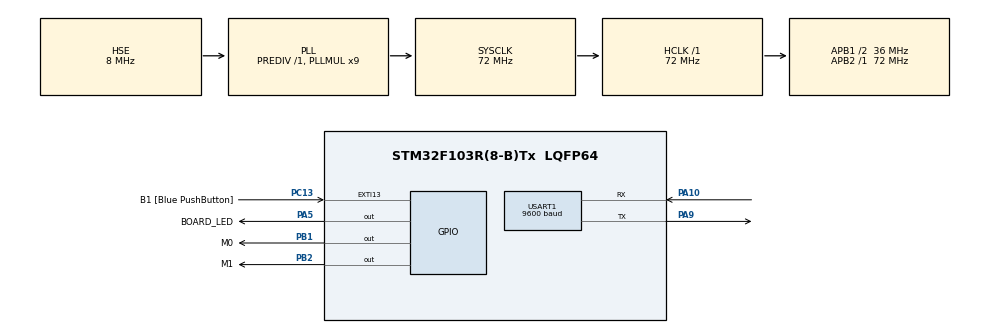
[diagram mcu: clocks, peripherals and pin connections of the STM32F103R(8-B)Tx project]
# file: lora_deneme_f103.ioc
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Dma.Request0=USART1_RX
Dma.Request1=USART1_TX
Dma.USART1_RX.0.Direction=DMA_PERIPH_TO_MEMORY
Dma.USART1_RX.0.Instance=DMA1_Channel5
Dma.USART1_RX.0.MemDataAlignment=DMA_MDATAALIGN_BYTE
Dma.USART1_RX.0.MemInc=DMA_MINC_ENABLE
Dma.USART1_RX.0.Mode=DMA_NORMAL
Dma.USART1_RX.0.PeriphDataAlignment=DMA_PDATAALIGN_BYTE
Dma.USART1_RX.0.PeriphInc=DMA_PINC_DISABLE
Dma.USART1_RX.0.Priority=DMA_PRIORITY_LOW
Dma.USART1_TX.1.Direction=DMA_MEMORY_TO_PERIPH
Dma.USART1_TX.1.Instance=DMA1_Channel4
Dma.USART1_TX.1.MemDataAlignment=DMA_MDATAALIGN_BYTE
Dma.USART1_TX.1.MemInc=DMA_MINC_ENABLE
Dma.USART1_TX.1.Mode=DMA_NORMAL
Dma.USART1_TX.1.PeriphDataAlignment=DMA_PDATAALIGN_BYTE
Dma.USART1_TX.1.PeriphInc=DMA_PINC_DISABLE
Dma.USART1_TX.1.Priority=DMA_PRIORITY_LOW
FREERTOS.Tasks01=defaultTask,0,128,StartDefaultTask,Default,NULL,Dynamic,NULL,NULL
Mcu.Family=STM32F1
Mcu.Name=STM32F103R(8-B)Tx
Mcu.Package=LQFP64
NVIC.DMA1_Channel4_IRQn=true\:5\:0\:false\:false\:true\:true\:false\:true\:true
NVIC.DMA1_Channel5_IRQn=true\:5\:0\:false\:false\:true\:true\:false\:true\:true
NVIC.EXTI15_10_IRQn=true\:5\:0\:false\:false\:true\:true\:true\:true\:true
NVIC.PriorityGroup=NVIC_PRIORITYGROUP_4
NVIC.USART1_IRQn=true\:5\:0\:false\:false\:true\:true\:true\:true\:true
PA10.Mode=Asynchronous
PA10.Signal=USART1_RX
PA13.GPIO_Label=TMS
PA13.Mode=Serial_Wire
PA13.Signal=SYS_JTMS-SWDIO
PA14.GPIO_Label=TCK
PA14.Mode=Serial_Wire
PA14.Signal=SYS_JTCK-SWCLK
PA2.GPIO_Label=USART_TX
PA2.GPIO_Mode=GPIO_MODE_AF_PP
PA2.GPIO_PuPd=GPIO_NOPULL
PA2.GPIO_Speed=GPIO_SPEED_FREQ_LOW
PA2.Signal=USART2_TX
PA3.GPIO_Label=USART_RX
PA3.GPIO_Mode=GPIO_MODE_AF_PP
PA3.GPIO_PuPd=GPIO_NOPULL
PA3.GPIO_Speed=GPIO_SPEED_FREQ_LOW
PA3.Signal=USART2_RX
PA5.GPIO_Label=BOARD_LED
PA5.GPIO_ModeDefaultOutputPP=GPIO_MODE_OUTPUT_PP
PA5.GPIO_PuPd=GPIO_NOPULL
PA5.GPIO_Speed=GPIO_SPEED_FREQ_LOW
PA5.Signal=GPIO_Output
PA9.Mode=Asynchronous
PA9.Signal=USART1_TX
PB1.GPIO_Label=M0
PB1.Signal=GPIO_Output
PB2.GPIO_Label=M1
PB2.Signal=GPIO_Output
PB3.GPIO_Label=SWO
PB3.Signal=SYS_JTDO-TRACESWO
PC13-TAMPER-RTC.GPIO_Label=B1 [Blue PushButton]
PC13-TAMPER-RTC.GPIO_PuPd=GPIO_NOPULL
PC13-TAMPER-RTC.Signal=GPXTI13
PC14-OSC32_IN.Mode=LSE-External-Oscillator
PC14-OSC32_IN.Signal=RCC_OSC32_IN
PC15-OSC32_OUT.Mode=LSE-External-Oscillator
PC15-OSC32_OUT.Signal=RCC_OSC32_OUT
PD0-OSC_IN.Mode=HSE-External-Clock-Source
PD0-OSC_IN.Signal=RCC_OSC_IN
PD1-OSC_OUT.Mode=HSE-External-Clock-Source
PD1-OSC_OUT.Signal=RCC_OSC_OUT
ProjectManager.HeapSize=0x200
ProjectManager.StackSize=0x400
ProjectManager.TargetToolchain=STM32CubeIDE
RCC.AHBFreq_Value=72000000
RCC.APB1CLKDivider=RCC_HCLK_DIV2
RCC.APB1Freq_Value=36000000
RCC.APB1TimFreq_Value=72000000
RCC.APB2Freq_Value=72000000
RCC.APB2TimFreq_Value=72000000
RCC.HCLKFreq_Value=72000000
RCC.PLLMUL=RCC_PLL_MUL9
RCC.PLLSourceVirtual=RCC_PLLSOURCE_HSE
RCC.RTCClockSelection=RCC_RTCCLKSOURCE_LSE
RCC.SYSCLKFreq_VALUE=72000000
RCC.SYSCLKSource=RCC_SYSCLKSOURCE_PLLCLK
RCC.USBFreq_Value=72000000
USART1.BaudRate=9600
USART1.VirtualMode=VM_ASYNC
VP_FREERTOS_VS_CMSIS_V1.Mode=CMSIS_V1
VP_TIM2_VS_ClockSourceINT.Mode=Internal
board=NUCLEO-F103RB

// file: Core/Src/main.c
/* **************************ENDUSTRIYEL ELEKTRIK***************************** */
/* *************************ENGINEER:IBRAHIM GURAN**************************** */
/* Not: Bu kod NUCLEO F103 kartı üzerinde alıcı pozisyondayken denenmiş ve
 * çalışmıştır. Alıcı bir kart olarak yalnızca "ping" verisinin vericiden gelmesini bekler.
 * Veri aldığı esnada da led yakar. Bu işlemi değiştirebilir veya alınca vereceği cevabı
 * değiştirerek farklı uygulamalar yapabilirsiniz. Kod üzerinde anlaşılması güç
 * noktaları da yorum satırlarıyla anlatacağım. Bu projede bana destek olan ve
 * bana bu proje üzerinde çalışmama izin veren başta HIKMET ALKILINÇ ve YUSUF OZYER
 * olmak üzere ENDUSTRIYEL ELEKTRIK ARGE MERKEZİ mühendislerine ve doğrudan bağlantı
 * kuramasam da kütüphane oluşturmama yardım eden WARD ALMASARANI'ye teşekkür ederim.
 */
/* USER CODE BEGIN Header */
/**
  ******************************************************************************
  * @file           : main.c
  * @brief          : Main program body
  ******************************************************************************
  * @attention
  *
  * Copyright (c) 2025 STMicroelectronics.
  * All rights reserved.
  *
  * This software is licensed under terms that can be found in the LICENSE file
  * in the root directory of this software component.
  * If no LICENSE file comes with this software, it is provided AS-IS.
  *
  ******************************************************************************
  */
/* USER CODE END Header */
#include "main.h"
#include "cmsis_os.h"

/* USER CODE BEGIN Includes */
#include "FreeRTOS.h"
#include "task.h"
#include "e22900t22d.h"
/* USER CODE END Includes */

TIM_HandleTypeDef htim2;

UART_HandleTypeDef huart1; // //modüle uart üzerinden veri gönderiyoruz.
DMA_HandleTypeDef hdma_usart1_rx; // USART1 kullanmamın sebebi USART2'de STLINK'in olması.
DMA_HandleTypeDef hdma_usart1_tx; // USART2'yi açsam bile TX pinlere gitmediği için kullanamıyorum.

osThreadId defaultTaskHandle;

void SystemClock_Config(void);
static void MX_GPIO_Init(void);
static void MX_DMA_Init(void);
static void MX_USART1_UART_Init(void);
static void MX_TIM2_Init(void);
void StartDefaultTask(void const * argument);

/* USER CODE BEGIN PFP */
// Burada lora modülünün çalışması için önemli olan fonksiyonlar bulunmakta.
// Hepsini fonksiyon içerisinde açıklayacağım. Burada sadece gerekli olan tanımlama işlemi var.
static void led_toggle_task(void *parameter);
static void e22_handle_task(void *parameter);
static void e22_transmission_task(void *parameter);
static void main_e22_transceiverMode(void);
static void main_e22_configurationMode(void);
static void main_lora_packet_receive(uint8_t* dataPacket, uint8_t size);
/* USER CODE END PFP */

int main(void)
{

  /* MCU Configuration--------------------------------------------------------*/

  /* Reset of all peripherals, Initializes the Flash interface and the Systick. */
  HAL_Init();

  /* Configure the system clock */
  SystemClock_Config();

  /* Initialize all configured peripherals */
  MX_GPIO_Init();
  MX_DMA_Init();
  MX_USART1_UART_Init();
  MX_TIM2_Init();
  /* USER CODE BEGIN 2 */
  // E22 LoRa modülünü yapılandırıyoruz.
    e22_lora_init(&huart1,
  		  	  	HAL_UART_Transmit_DMA,
  				HAL_UARTEx_ReceiveToIdle_DMA,
  				main_lora_packet_receive,
  				main_e22_configurationMode,
  				main_e22_transceiverMode);

    // FREERTOS Task oluşturmayı başlatıyoruz.
    xTaskCreate(led_toggle_task, "Toggle LED", 128, NULL, 1, NULL);

    xTaskCreate(e22_handle_task, "E22 LoRa Handler", 128 * 4, NULL, 1, NULL);

    xTaskCreate(e22_transmission_task, "E22 LoRa Tx Task", 128 * 4, NULL, 1, NULL);

    vTaskStartScheduler();

    //The rest is not executed.
  /* USER CODE END 2 */

  /* Create the thread(s) */
  /* definition and creation of defaultTask */
  osThreadDef(defaultTask, StartDefaultTask, osPriorityNormal, 0, 128);
  defaultTaskHandle = osThreadCreate(osThread(defaultTask), NULL);

  /* Start scheduler */
  osKernelStart();

  /* We should never get here as control is now taken by the scheduler */
  /* Infinite loop */
  while (1)
  {

  }
}

void SystemClock_Config(void)
{
  RCC_OscInitTypeDef RCC_OscInitStruct = {0};
  RCC_ClkInitTypeDef RCC_ClkInitStruct = {0};

  /** Initializes the RCC Oscillators according to the specified parameters
  * in the RCC_OscInitTypeDef structure.
  */
  RCC_OscInitStruct.OscillatorType = RCC_OSCILLATORTYPE_HSE;
  RCC_OscInitStruct.HSEState = RCC_HSE_BYPASS;
  RCC_OscInitStruct.HSEPredivValue = RCC_HSE_PREDIV_DIV1;
  RCC_OscInitStruct.HSIState = RCC_HSI_ON;
  RCC_OscInitStruct.PLL.PLLState = RCC_PLL_ON;
  RCC_OscInitStruct.PLL.PLLSource = RCC_PLLSOURCE_HSE;
  RCC_OscInitStruct.PLL.PLLMUL = RCC_PLL_MUL9;
  if (HAL_RCC_OscConfig(&RCC_OscInitStruct) != HAL_OK)
  {
    Error_Handler();
  }

  /** Initializes the CPU, AHB and APB buses clocks
  */
  RCC_ClkInitStruct.ClockType = RCC_CLOCKTYPE_HCLK|RCC_CLOCKTYPE_SYSCLK
                              |RCC_CLOCKTYPE_PCLK1|RCC_CLOCKTYPE_PCLK2;
  RCC_ClkInitStruct.SYSCLKSource = RCC_SYSCLKSOURCE_PLLCLK;
  RCC_ClkInitStruct.AHBCLKDivider = RCC_SYSCLK_DIV1;
  RCC_ClkInitStruct.APB1CLKDivider = RCC_HCLK_DIV2;
  RCC_ClkInitStruct.APB2CLKDivider = RCC_HCLK_DIV1;

  if (HAL_RCC_ClockConfig(&RCC_ClkInitStruct, FLASH_LATENCY_2) != HAL_OK)
  {
    Error_Handler();
  }
}

static void MX_TIM2_Init(void)
{

  TIM_ClockConfigTypeDef sClockSourceConfig = {0};
  TIM_MasterConfigTypeDef sMasterConfig = {0};

  htim2.Instance = TIM2;
  htim2.Init.Prescaler = 0;
  htim2.Init.CounterMode = TIM_COUNTERMODE_UP;
  htim2.Init.Period = 65535;
  htim2.Init.ClockDivision = TIM_CLOCKDIVISION_DIV1;
  htim2.Init.AutoReloadPreload = TIM_AUTORELOAD_PRELOAD_DISABLE;
  if (HAL_TIM_Base_Init(&htim2) != HAL_OK)
  {
    Error_Handler();
  }
  sClockSourceConfig.ClockSource = TIM_CLOCKSOURCE_INTERNAL;
  if (HAL_TIM_ConfigClockSource(&htim2, &sClockSourceConfig) != HAL_OK)
  {
    Error_Handler();
  }
  sMasterConfig.MasterOutputTrigger = TIM_TRGO_RESET;
  sMasterConfig.MasterSlaveMode = TIM_MASTERSLAVEMODE_DISABLE;
  if (HAL_TIMEx_MasterConfigSynchronization(&htim2, &sMasterConfig) != HAL_OK)
  {
    Error_Handler();
  }

}

static void MX_USART1_UART_Init(void)
{

  huart1.Instance = USART1;
  huart1.Init.BaudRate = 9600;
  huart1.Init.WordLength = UART_WORDLENGTH_8B;
  huart1.Init.StopBits = UART_STOPBITS_1;
  huart1.Init.Parity = UART_PARITY_NONE;
  huart1.Init.Mode = UART_MODE_TX_RX;
  huart1.Init.HwFlowCtl = UART_HWCONTROL_NONE;
  huart1.Init.OverSampling = UART_OVERSAMPLING_16;
  if (HAL_UART_Init(&huart1) != HAL_OK)
  {
    Error_Handler();
  }

}

static void MX_DMA_Init(void)
{

  /* DMA controller clock enable */
  __HAL_RCC_DMA1_CLK_ENABLE();

  /* DMA interrupt init */
  /* DMA1_Channel4_IRQn interrupt configuration */
  HAL_NVIC_SetPriority(DMA1_Channel4_IRQn, 5, 0);
  HAL_NVIC_EnableIRQ(DMA1_Channel4_IRQn);
  /* DMA1_Channel5_IRQn interrupt configuration */
  HAL_NVIC_SetPriority(DMA1_Channel5_IRQn, 5, 0);
  HAL_NVIC_EnableIRQ(DMA1_Channel5_IRQn);

}

static void MX_GPIO_Init(void)
{
  GPIO_InitTypeDef GPIO_InitStruct = {0};

  /* GPIO Ports Clock Enable */
  __HAL_RCC_GPIOC_CLK_ENABLE();
  __HAL_RCC_GPIOD_CLK_ENABLE();
  __HAL_RCC_GPIOA_CLK_ENABLE();
  __HAL_RCC_GPIOB_CLK_ENABLE();

  /*Configure GPIO pin Output Level */
  HAL_GPIO_WritePin(BOARD_LED_GPIO_Port, BOARD_LED_Pin, GPIO_PIN_RESET);

  /*Configure GPIO pin Output Level */
  HAL_GPIO_WritePin(GPIOB, M0_Pin|M1_Pin, GPIO_PIN_RESET);

  /*Configure GPIO pin : B1_Pin */
  GPIO_InitStruct.Pin = B1_Pin;
  GPIO_InitStruct.Mode = GPIO_MODE_IT_RISING;
  GPIO_InitStruct.Pull = GPIO_NOPULL;
  HAL_GPIO_Init(B1_GPIO_Port, &GPIO_InitStruct);

  /*Configure GPIO pins : USART_TX_Pin USART_RX_Pin */
  GPIO_InitStruct.Pin = USART_TX_Pin|USART_RX_Pin;
  GPIO_InitStruct.Mode = GPIO_MODE_AF_PP;
  GPIO_InitStruct.Speed = GPIO_SPEED_FREQ_LOW;
  HAL_GPIO_Init(GPIOA, &GPIO_InitStruct);

  /*Configure GPIO pin : BOARD_LED_Pin */
  GPIO_InitStruct.Pin = BOARD_LED_Pin;
  GPIO_InitStruct.Mode = GPIO_MODE_OUTPUT_PP;
  GPIO_InitStruct.Pull = GPIO_NOPULL;
  GPIO_InitStruct.Speed = GPIO_SPEED_FREQ_LOW;
  HAL_GPIO_Init(BOARD_LED_GPIO_Port, &GPIO_InitStruct);

  /*Configure GPIO pins : M0_Pin M1_Pin */
  GPIO_InitStruct.Pin = M0_Pin|M1_Pin;
  GPIO_InitStruct.Mode = GPIO_MODE_OUTPUT_PP;
  GPIO_InitStruct.Pull = GPIO_NOPULL;
  GPIO_InitStruct.Speed = GPIO_SPEED_FREQ_LOW;
  HAL_GPIO_Init(GPIOB, &GPIO_InitStruct);

  /* EXTI interrupt init*/
  HAL_NVIC_SetPriority(EXTI15_10_IRQn, 5, 0);
  HAL_NVIC_EnableIRQ(EXTI15_10_IRQn);

}

/* USER CODE BEGIN 4 */
static void led_toggle_task(void *parameter)
{
  static TickType_t xLastWakeTime; //görevin periyodik olarak çalışmasını sağlamak için
  const TickType_t xPeriod = pdMS_TO_TICKS(1000);  // 1 saniye delay
  //pdMS_TO_TICKS makrosu, milisaniye cinsinden verilen değeri FreeRTOS'un tick sayısına dönüştürür.​
  xLastWakeTime = xTaskGetTickCount();
  //Geçerli tick sayısı alınarak xLastWakeTime değişkenine atanıyor. Bu, görevin doğru periyotlarla
  //çalışmasını sağlamak için başlangıç referansı olarak kullanılır.

  for(;;) // sonsuz döngü
  {
    vTaskDelayUntil(&xLastWakeTime, xPeriod);
    //Görev, xLastWakeTime zamanından itibaren xPeriod süresi kadar bekler.
    //Bu fonksiyon, görevin kesin periyotlarla çalışmasını sağlar ve
    //zamanlamadaki kaymaları önler.
    // HAL_GPIO_TogglePin(BOARD_LED_GPIO_Port, BOARD_LED_Pin);
  }
}

// E22 LoRa modülünün çalışma döngüsünü kontrol etmek için yapılmış bir background task’tır.
static void e22_handle_task(void *parameter)
{
  static TickType_t xLastWakeTime;
  const TickType_t xPeriod = pdMS_TO_TICKS(100);
  xLastWakeTime = xTaskGetTickCount();

  for(;;)
  {
    vTaskDelayUntil(&xLastWakeTime, xPeriod);
    // E22 LoRa modülünün yönetim fonksiyonu çağrılır.
    // Bu fonksiyon, modülün durumunu kontrol eder ve gerekli işlemleri yapar.
    e22_lora_manager();

  }
}

static void e22_transmission_task(void *parameter)
{
  static TickType_t xLastWakeTime;
  const TickType_t xPeriod = pdMS_TO_TICKS(1000);
  xLastWakeTime = xTaskGetTickCount();

  const uint8_t packetSize = 4;  //  Gönderilecek paketin boyutu
  const uint8_t receiverAddress = 0x09; // Alıcının adresi
  const uint8_t ComChannel = 0x06; //  İletişim kanalı
  uint8_t packet[5] = "pong";  // Gönderilecek veri paketi

  for(;;)
  {
    vTaskDelayUntil(&xLastWakeTime, xPeriod);
    e22_lora_transnit(packet, packetSize, receiverAddress, ComChannel);
    // iletimi başlat
  }
}
/**
 * @brief 	LoRa module transceiver mode selection.  when this mode is active, the module configuration can't be modified.
 *
 */
static void main_e22_transceiverMode(void)
{
	// F103RB'de M0 ve M1 pinleri kullanılmıyor
}
/**
 * @brief 	LoRa module config mode selection. when this mode is active, wireless communication is inactive.
 *
 */
static void main_e22_configurationMode(void)
{
	// F103RB'de M0 ve M1 pinleri kullanılmıyor
}

// UART ile bir veri gönderme işlemi tamamlandığında otomatik olarak çağrılır.
/**
 * @brief 	UART data transmission complete callback over DMA
 *
 * @param 	huart	:	Pointer to the UART handler
 */
// UART ile bir veri gönderme işlemi tamamlandığında otomatik olarak çağrılır.
void HAL_UART_TxCpltCallback(UART_HandleTypeDef *huart)
{
	//Change the TX line state to ready
	e22_lora_make_ready();
	// Bu fonksiyon, E22 modülünü yeni bir işleme (örneğin başka bir paket gönderimi)
	// hazır duruma getirmek için çağrılır.
	// Gönderim tamamlandıktan sonra sistemin yeni işlem yapabilmesi
	// için tetikleme yapılmış olur.
}
/**
 * @brief 	UART data reception complete callback over DMA
 *
 * @param 	huart	:	Pointer to the UART handler
 *
 * @param 	Size	:	Packet size received over UART
 */
// UART üzerinden veri alımı tamamlandığında otomatik olarak
// çağrılan bir HAL fonksiyonudur (DMA veya kesmeyle çalıştığında kullanılır).
void HAL_UARTEx_RxEventCallback(UART_HandleTypeDef *huart, uint16_t Size)
{
	e22_lora_reception_complete(Size);
	// Bu fonksiyon, alınan verinin işlenmesini başlatır.
	// Alınan Size kadar byte’lık veriyi ele alacak şekilde E22 modülünün
	// işleyici fonksiyonuna yönlendirir.
	//HAL_GPIO_TogglePin(BOARD_LED_GPIO_Port, BOARD_LED_Pin);
}
/**
 * @brief 	This function is a callback to receives a LoRa packet by copying it from the data packet buffer to the local LoRa packet buffer. It then
 * 			copies the LoRa packet to the main layer.
 *
 * @param 	dataPacket	:	dataPacket Pointer to the buffer containing the received data packet.
 *
 * @param 	size		:	size of the received data packet.
 */
// Bu fonksiyon, gelen LoRa paketlerini yorumlamak için tasarlanmıştır.
// Veriyi alır, içerik kontrolü yapar ve belirli komutlara karşı tepki verir.
static void main_lora_packet_receive(uint8_t* dataPacket, uint8_t size)
{
	uint8_t loraPacket[MAX_DATA_PACKET_SIZE] = {0}; // Gelen paketi tutmak için sıfırlarla başlatılmış bir tampon (buffer) oluşturuluyor.
	//Copy data to the main layer
	memcpy(&loraPacket, dataPacket, size);
	//Gelen veri (dataPacket) size kadar loraPacket tamponuna kopyalanıyor.
	// TODO: implement main layer packet handling

	if(0 == memcmp(loraPacket, "ping", size))
	{
		// Kopyalanan veri ile "ping" kelimesi aynı mı diye karşılaştırma yapılır.
			  // memcmp sonucu 0 ise iki veri aynıdır.
		 HAL_GPIO_TogglePin(BOARD_LED_GPIO_Port, BOARD_LED_Pin);
		 // Eğer gelen veri "ping" ise, bir LED’in durumu değiştirilir (açıkken kapanır, kapalıysa açılır).
	}
}
/* USER CODE END 4 */

void StartDefaultTask(void const * argument)
{
  for(;;)
  {
    osDelay(1);
  }
}

void Error_Handler(void)
{
  __disable_irq();
  while (1)
  {
  }
}
